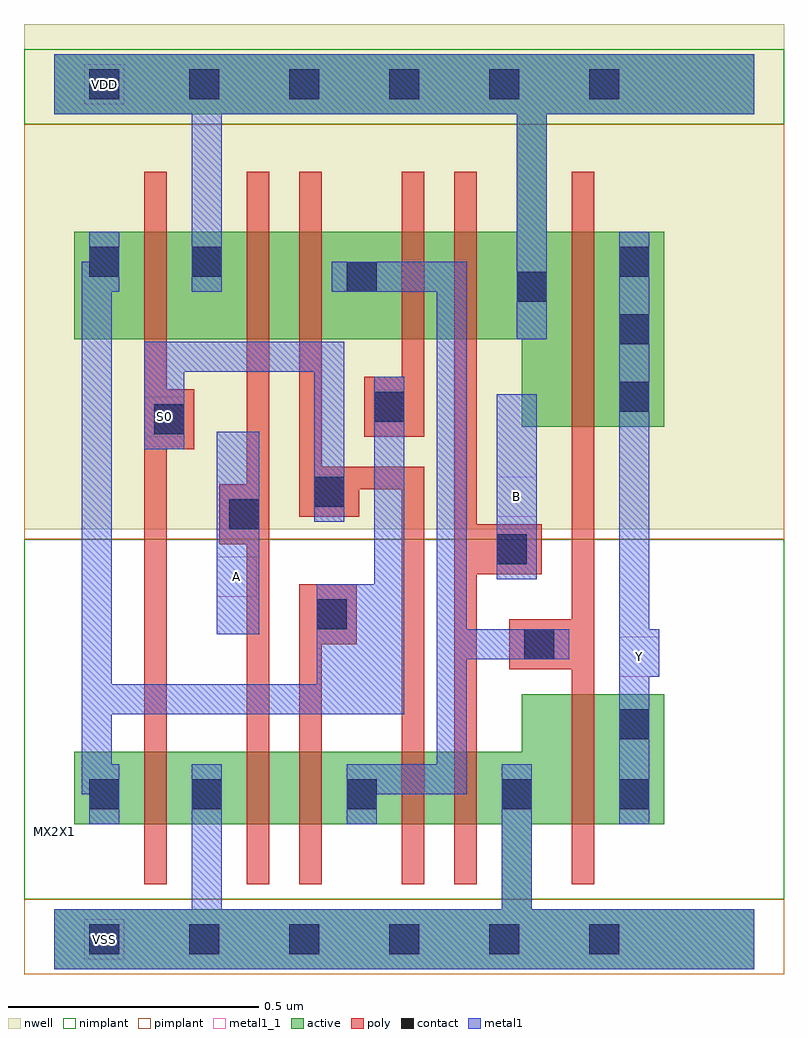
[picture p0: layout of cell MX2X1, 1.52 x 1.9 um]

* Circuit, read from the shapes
.subckt MX2X1 A B S0 VDD VSS Y
M1 VSS S0 n1 VSS nfet w=0.145u l=0.045u
M2 n2 A VSS VSS nfet w=0.145u l=0.045u
M3 n3 n1 n2 VSS nfet w=0.145u l=0.045u
M4 n4 S0 n3 VSS nfet w=0.145u l=0.045u
M5 VSS B n4 VSS nfet w=0.145u l=0.045u
M6 Y n3 VSS VSS nfet w=0.26u l=0.045u
M7 VDD S0 n1 VDD pfet w=0.215u l=0.045u
M8 n5 A VDD VDD pfet w=0.215u l=0.045u
M9 n3 S0 n5 VDD pfet w=0.215u l=0.045u
M10 n6 n1 n3 VDD pfet w=0.215u l=0.045u
M11 VDD B n6 VDD pfet w=0.215u l=0.045u
M12 Y n3 VDD VDD pfet w=0.39u l=0.045u
.ends

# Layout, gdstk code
import gdstk
lib = gdstk.Library(unit=1e-6, precision=5e-10)
def R(c, l, rs):  # rectangles x0, y0, x1, y1
    for r in rs: c.add(gdstk.rectangle(r[:2], r[2:], *l))
def A(c, l, x, y, w, h, nx, ny, dx, dy):  # array of equal rectangles
    R(c, l, [(x+i*dx, y+j*dy, x+i*dx+w, y+j*dy+h) for i in range(nx) for j in range(ny)])
def P(c, l, *ps):  # polygons
    for p in ps: c.add(gdstk.Polygon(p, *l))
active = (1, 0)
nwell = (2, 0)
poly = (3, 0)
nimplant = (4, 0)
pimplant = (5, 0)
contact = (6, 0)
metal1 = (7, 0)
metal1_1 = (7, 1)

mx2x1 = lib.new_cell('MX2X1')
P(mx2x1, active, [(1.4,0.06),(0.955,0.06),(0.955,0.23),(1.22,0.23),(1.22,0.49),(0.935,0.49),(0.935,0.375),(0.04,0.375),(0.04,0.23),(0.895,0.23),(0.895,0.06),(0,0.06),(0,-0.06),(1.4,-0.06)],
  [(1.4,1.77),(0,1.77),(0,1.65),(0.925,1.65),(0.925,1.415),(0.04,1.415),(0.04,1.2),(0.935,1.2),(0.935,1.025),(1.22,1.025),(1.22,1.415),(0.985,1.415),(0.985,1.65),(1.4,1.65)])
R(mx2x1, nwell, [(-0.06,0.82,1.46,1.83)])
P(mx2x1, poly, [(1.08,1.535),(1.035,1.535),(1.035,0.64),(0.91,0.64),(0.91,0.54),(1.035,0.54),(1.035,0.11),(1.08,0.11)],
  [(0.975,0.83),(0.845,0.83),(0.845,1.535),(0.8,1.535),(0.8,0.11),(0.845,0.11),(0.845,0.73),(0.975,0.73)],
  [(0.74,0.945),(0.535,0.945),(0.535,1.535),(0.49,1.535),(0.49,0.845),(0.61,0.845),(0.61,0.9),(0.695,0.9),(0.695,0.11),(0.74,0.11)],
  [(0.74,1.535),(0.695,1.535),(0.695,1.125),(0.62,1.125),(0.62,1.005),(0.74,1.005)],
  [(0.605,0.71),(0.49,0.71),(0.49,0.11),(0.535,0.11),(0.535,0.59),(0.605,0.59)],
  [(0.43,1.535),(0.385,1.535),(0.385,0.91),(0.33,0.91),(0.33,0.79),(0.385,0.79),(0.385,0.11),(0.43,0.11)],
  [(0.28,1.1),(0.225,1.1),(0.225,1.535),(0.18,1.535),(0.18,0.11),(0.225,0.11),(0.225,0.98),(0.28,0.98)])
R(mx2x1, nimplant, [(-0.06,0.08,1.46,0.8), (-0.06,1.63,1.46,1.78)])
R(mx2x1, pimplant, [(-0.06,-0.07,1.46,0.08), (-0.06,0.8,1.46,1.63)])
A(mx2x1, contact, 0.07, -0.03, 0.06, 0.06, 6, 2, 0.2, 1.71)
A(mx2x1, contact, 0.275, 0.26, 0.06, 0.06, 3, 1, 0.31, 0)
A(mx2x1, contact, 1.13, 1.055, 0.06, 0.06, 1, 3, 0, 0.135)
R(mx2x1, contact, [(0.07,0.26,0.13,0.32), (1.13,0.26,1.19,0.32), (1.13,0.4,1.19,0.46), (0.94,0.56,1,0.62), (0.525,0.62,0.585,0.68), (0.885,0.75,0.945,0.81), (0.35,0.82,0.41,0.88), (0.52,0.865,0.58,0.925), (0.2,1.01,0.26,1.07), (0.64,1.035,0.7,1.095), (0.925,1.275,0.985,1.335), (0.585,1.295,0.645,1.355), (0.07,1.325,0.13,1.385), (0.275,1.325,0.335,1.385)])
R(mx2x1, metal1, [(0.325,0.61,0.41,1.015), (0.885,0.72,0.965,1.09)])
P(mx2x1, metal1, [(1.4,0.06),(0.955,0.06),(0.955,0.35),(0.895,0.35),(0.895,0.06),(0.335,0.06),(0.335,0.35),(0.275,0.35),(0.275,0.06),(0,0.06),(0,-0.06),(1.4,-0.06)],
  [(1.4,1.77),(0,1.77),(0,1.65),(0.275,1.65),(0.275,1.295),(0.335,1.295),(0.335,1.65),(0.925,1.65),(0.925,1.2),(0.985,1.2),(0.985,1.65),(1.4,1.65)],
  [(1.21,0.62),(1.19,0.62),(1.19,1.415),(1.13,1.415),(1.13,0.23),(1.19,0.23),(1.19,0.525),(1.21,0.525)],
  [(1.03,0.62),(0.825,0.62),(0.825,1.355),(0.555,1.355),(0.555,1.295),(0.765,1.295),(0.765,0.35),(0.585,0.35),(0.585,0.23),(0.645,0.23),(0.645,0.29),(0.825,0.29),(0.825,0.56),(1.03,0.56)],
  [(0.7,1.125),(0.64,1.125),(0.64,0.71),(0.525,0.71),(0.525,0.51),(0.115,0.51),(0.115,1.295),(0.13,1.295),(0.13,1.415),(0.07,1.415),(0.07,1.355),(0.055,1.355),(0.055,0.29),(0.07,0.29),(0.07,0.23),(0.13,0.23),(0.13,0.35),(0.115,0.35),(0.115,0.45),(0.7,0.45)],
  [(0.58,1.195),(0.18,1.195),(0.18,0.98),(0.26,0.98),(0.26,1.135),(0.52,1.135),(0.52,0.835),(0.58,0.835)])
R(mx2x1, metal1_1, [(0.06,-0.04,0.14,0.04), (1.13,0.525,1.21,0.605), (0.325,0.685,0.405,0.765), (0.885,0.845,0.965,0.925), (0.18,1.005,0.26,1.085), (0.06,1.67,0.14,1.75)])
mx2x1.add(gdstk.Label('Y', (1.17,0.565), layer=7, texttype=1))
mx2x1.add(gdstk.Label('B', (0.925,0.885), layer=7, texttype=1))
mx2x1.add(gdstk.Label('A', (0.365,0.725), layer=7, texttype=1))
mx2x1.add(gdstk.Label('S0', (0.22,1.045), layer=7, texttype=1))
mx2x1.add(gdstk.Label('VDD', (0.1,1.71), layer=7, texttype=1))
mx2x1.add(gdstk.Label('VSS', (0.1,0), layer=7, texttype=1))
mx2x1.add(gdstk.Label('MX2X1', (0,0.215), layer=63, texttype=0))

lib.write_gds('MX2X1.gds')
